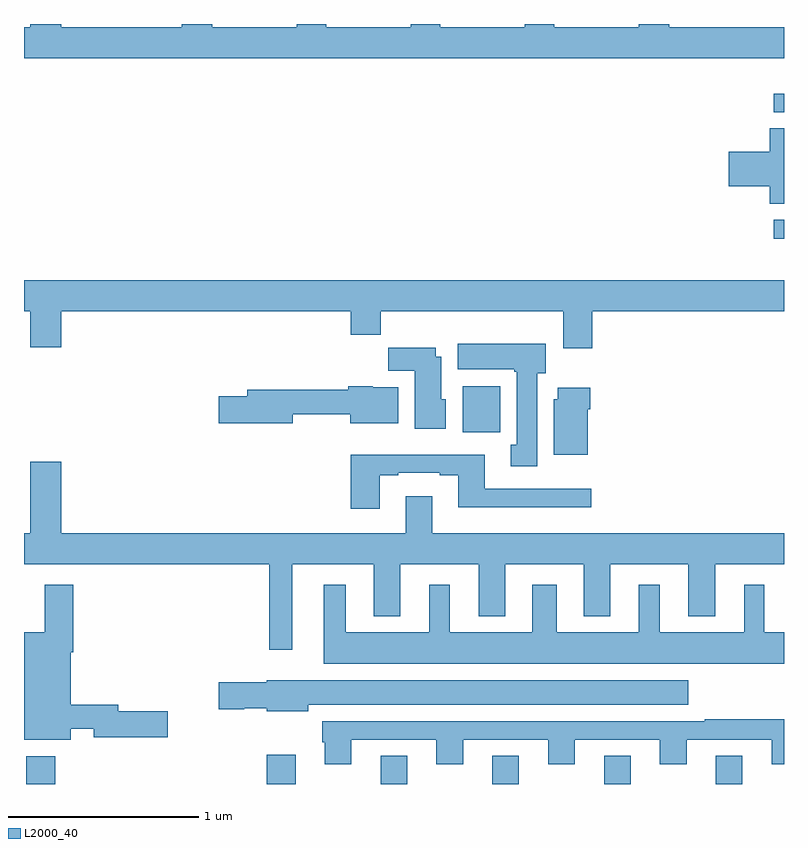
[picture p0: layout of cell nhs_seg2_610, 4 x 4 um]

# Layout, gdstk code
import gdstk
lib = gdstk.Library(unit=1e-6, precision=1e-09)
def R(c, l, rs):  # rectangles x0, y0, x1, y1
    for r in rs: c.add(gdstk.rectangle(r[:2], r[2:], *l))
def A(c, l, x, y, w, h, nx, ny, dx, dy):  # array of equal rectangles
    R(c, l, [(x+i*dx, y+j*dy, x+i*dx+w, y+j*dy+h) for i in range(nx) for j in range(ny)])
def P(c, l, *ps):  # polygons
    for p in ps: c.add(gdstk.Polygon(p, *l))
L2000_40 = (2000, 40)

nhs_seg2_610 = lib.new_cell('nhs_seg2_610')
A(nhs_seg2_610, L2000_40, 142.877, 659.8, 0.14, 0.148, 4, 1, 0.588, 0)
R(nhs_seg2_610, L2000_40, [(141.011,659.8,141.164,659.947), (142.277,659.8,142.429,659.953), (143.309,661.652,143.506,661.894), (144.945,662.671,145,662.769), (144.945,663.336,145,663.432)])
P(nhs_seg2_610, L2000_40, [(145,663.784),(144.395,663.784),(144.395,663.8),(144.235,663.8),(144.235,663.784),(143.79,663.784),(143.79,663.8),(143.635,663.8),(143.635,663.784),(143.19,663.784),(143.19,663.8),(143.035,663.8),(143.035,663.784),(142.59,663.784),(142.59,663.8),(142.435,663.8),(142.435,663.784),(141.99,663.784),(141.99,663.8),(141.83,663.8),(141.83,663.784),(141.196,663.784),(141.196,663.8),(141.032,663.8),(141.032,663.784),(141,663.784),(141,663.62),(145,663.62)],
  [(145,663.251),(144.926,663.251),(144.926,663.128),(144.708,663.128),(144.708,662.945),(144.926,662.945),(144.926,662.854),(145,662.854)],
  [(143.99,662.288),(145,662.288),(145,662.452),(141,662.452),(141,662.288),(141.032,662.288),(141.032,662.1),(141.196,662.1),(141.196,662.288),(142.721,662.288),(142.721,662.164),(142.877,662.164),(142.877,662.288),(143.837,662.288),(143.837,662.094),(143.99,662.094)],
  [(143.701,661.962),(143.746,661.962),(143.746,662.116),(143.282,662.116),(143.282,661.982),(143.581,661.982),(143.581,661.969),(143.594,661.969),(143.594,661.586),(143.561,661.586),(143.561,661.473),(143.701,661.473)],
  [(143.221,661.824),(143.197,661.824),(143.197,662.05),(143.167,662.05),(143.167,662.095),(142.918,662.095),(142.918,661.976),(143.057,661.976),(143.057,661.67),(143.221,661.67)],
  [(142.414,661.747),(142.718,661.747),(142.718,661.7),(142.969,661.7),(142.969,661.888),(142.836,661.888),(142.836,661.894),(142.706,661.894),(142.706,661.876),(142.175,661.876),(142.175,661.842),(142.026,661.842),(142.026,661.7),(142.414,661.7)],
  [(143.968,661.772),(143.981,661.772),(143.981,661.885),(143.81,661.885),(143.81,661.824),(143.789,661.824),(143.789,661.532),(143.968,661.532)],
  [(142.873,661.425),(142.969,661.425),(142.969,661.437),(143.189,661.437),(143.189,661.425),(143.285,661.425),(143.285,661.256),(143.986,661.256),(143.986,661.353),(143.425,661.353),(143.425,661.534),(142.721,661.534),(142.721,661.248),(142.873,661.248)],
  [(141.196,661.495),(141.032,661.495),(141.032,661.12),(141,661.12),(141,660.956),(142.29,660.956),(142.29,660.507),(142.411,660.507),(142.411,660.956),(142.841,660.956),(142.841,660.683),(142.981,660.683),(142.981,660.956),(143.393,660.956),(143.393,660.683),(143.533,660.683),(143.533,660.956),(143.945,660.956),(143.945,660.683),(144.085,660.683),(144.085,660.956),(144.497,660.956),(144.497,660.683),(144.637,660.683),(144.637,660.956),(145,660.956),(145,661.12),(143.149,661.12),(143.149,661.315),(143.009,661.315),(143.009,661.12),(141.196,661.12)],
  [(141.247,660.09),(141.368,660.09),(141.368,660.047),(141.757,660.047),(141.757,660.182),(141.496,660.182),(141.496,660.218),(141.247,660.218),(141.247,660.494),(141.26,660.494),(141.26,660.85),(141.11,660.85),(141.11,660.598),(141,660.598),(141,660.032),(141.247,660.032)],
  [(145,660.598),(144.895,660.598),(144.895,660.85),(144.791,660.85),(144.791,660.598),(144.346,660.598),(144.346,660.85),(144.236,660.85),(144.236,660.598),(143.803,660.598),(143.803,660.85),(143.675,660.85),(143.675,660.598),(143.242,660.598),(143.242,660.85),(143.132,660.85),(143.132,660.598),(142.693,660.598),(142.693,660.85),(142.577,660.85),(142.577,660.434),(145,660.434)],
  [(142.495,660.218),(144.496,660.218),(144.496,660.346),(142.278,660.346),(142.278,660.335),(142.026,660.335),(142.026,660.193),(142.158,660.193),(142.158,660.2),(142.278,660.2),(142.278,660.182),(142.495,660.182)],
  [(142.723,660.033),(143.171,660.033),(143.171,659.904),(143.311,659.904),(143.311,660.033),(143.759,660.033),(143.759,659.904),(143.899,659.904),(143.899,660.033),(144.347,660.033),(144.347,659.904),(144.487,659.904),(144.487,660.033),(144.935,660.033),(144.935,659.904),(145,659.904),(145,660.142),(144.583,660.142),(144.583,660.129),(142.571,660.129),(142.571,660.021),(142.583,660.021),(142.583,659.904),(142.723,659.904)])

lib.write_gds('nhs_seg2_610.gds')
